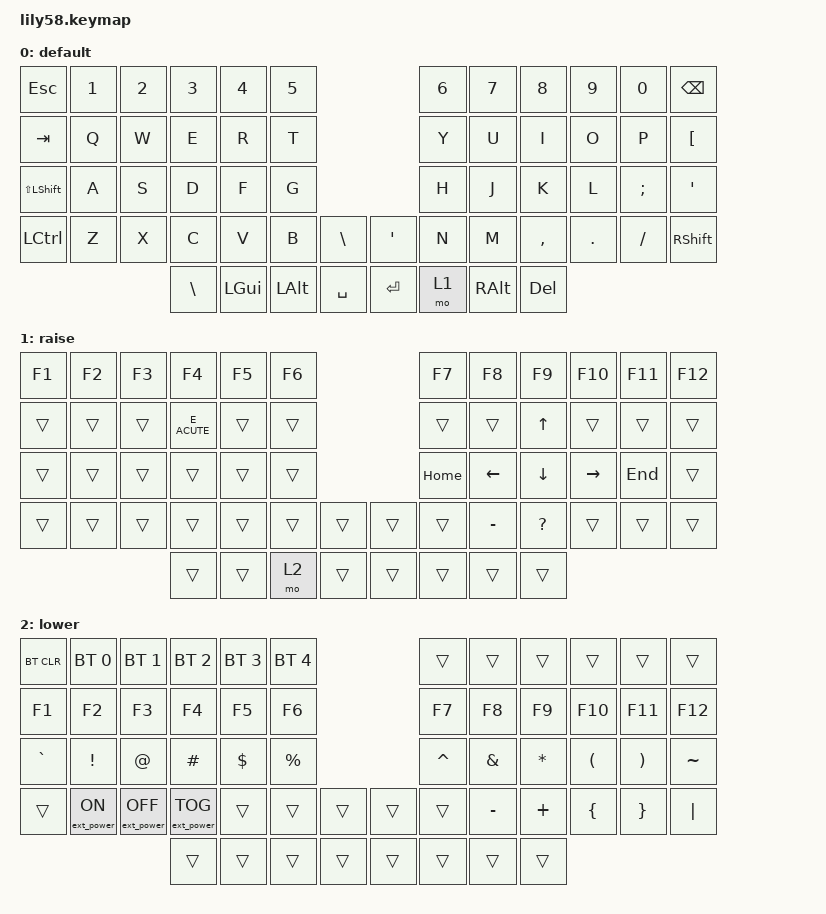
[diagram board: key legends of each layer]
/*
 * Copyright (c) 2020 The ZMK Contributors
 *
 * SPDX-License-Identifier: MIT
 */

#include <behaviors.dtsi>
#include <dt-bindings/zmk/bt.h>
#include <dt-bindings/zmk/ext_power.h>
#include <dt-bindings/zmk/keys.h>

/ {
    macros {
        E_ACUTE: E_ACUTE {
            compatible = "zmk,behavior-macro";
            #binding-cells = <0>;
            bindings = <&kp DQT &kp E>;
            label = "E_ACUTE";
        };
    };

    keymap {
        compatible = "zmk,keymap";

        default {
            bindings = <
&kp ESC        &kp N1  &kp N2  &kp N3    &kp N4    &kp N5                            &kp N6  &kp N7    &kp N8     &kp N9   &kp N0    &kp BSPC
&kp TAB        &kp Q   &kp W   &kp E     &kp R     &kp T                             &kp Y   &kp U     &kp I      &kp O    &kp P     &kp LBKT
&kp LS(LSHFT)  &kp A   &kp S   &kp D     &kp F     &kp G                             &kp H   &kp J     &kp K      &kp L    &kp SEMI  &kp APOS
&kp LCTRL      &kp Z   &kp X   &kp C     &kp V     &kp B     &kp BSLH     &kp APOS   &kp N   &kp M     &kp COMMA  &kp DOT  &kp FSLH  &kp RSHFT
                               &kp BSLH  &kp LGUI  &kp LALT  &kp SPACE    &kp ENTER  &mo 1   &kp RALT  &kp DEL
            >;
        };

        raise {
            bindings = <
&kp F1  &kp F2  &kp F3  &kp F4    &kp F5  &kp F6                    &kp F7    &kp F8     &kp F9        &kp F10    &kp F11  &kp F12
&trans  &trans  &trans  &E_ACUTE  &trans  &trans                    &trans    &trans     &kp UP_ARROW  &trans     &trans   &trans
&trans  &trans  &trans  &trans    &trans  &trans                    &kp HOME  &kp LEFT   &kp DOWN      &kp RIGHT  &kp END  &trans
&trans  &trans  &trans  &trans    &trans  &trans  &trans    &trans  &trans    &kp MINUS  &kp QUESTION  &trans     &trans   &trans
                        &trans    &trans  &mo 2   &trans    &trans  &trans    &trans     &trans
            >;
        };

        lower {
            // ------------------------------------------------------------------------------------------------------------
            // | BTCLR | BT1 | BT2 |  BT3 |  BT4 |  BT5 |                   |      |       |       |      |       |       |
            // |  F1   |  F2 |  F3 |  F4  |  F5  |  F6  |                   |  F7  |  F8   |  F9   |  F10 |  F11  |  F12  |
            // |   `   |  !  |  @  |  #   |  $   |  %   |                   |  ^   |  &    |  *    |  (   |   )   |   ~   |
            // |       |     |     |      |      |      |        |  |       |      |  _    |  +    |  {   |   }   |  "|"  |
            //                     |      |      |      |        |  |       |      |       |       |

            bindings = <
&bt BT_CLR  &bt BT_SEL 0      &bt BT_SEL 1       &bt BT_SEL 2       &bt BT_SEL 3  &bt BT_SEL 4                    &trans     &trans     &trans     &trans    &trans    &trans
&kp F1      &kp F2            &kp F3             &kp F4             &kp F5        &kp F6                          &kp F7     &kp F8     &kp F9     &kp F10   &kp F11   &kp F12
&kp GRAVE   &kp EXCL          &kp AT             &kp HASH           &kp DOLLAR    &kp PRCNT                       &kp CARET  &kp AMPS   &kp ASTRK  &kp LPAR  &kp RPAR  &kp TILDE
&trans      &ext_power EP_ON  &ext_power EP_OFF  &ext_power EP_TOG  &trans        &trans        &trans    &trans  &trans     &kp MINUS  &kp PLUS   &kp LBRC  &kp RBRC  &kp PIPE
                                                 &trans             &trans        &trans        &trans    &trans  &trans     &trans     &trans
            >;
        };
    };
};
